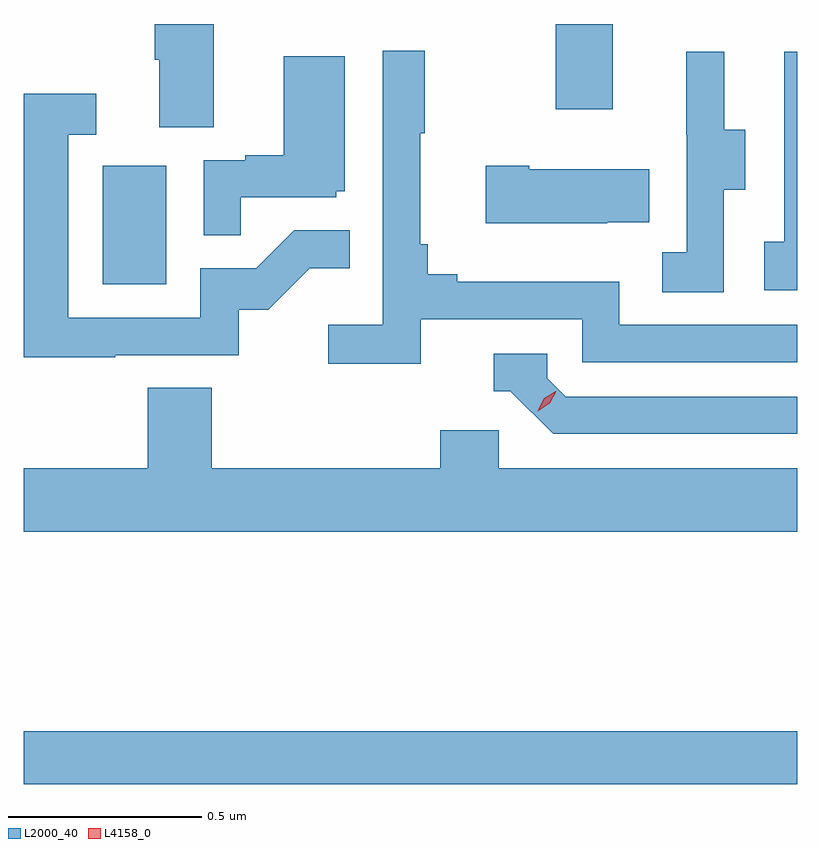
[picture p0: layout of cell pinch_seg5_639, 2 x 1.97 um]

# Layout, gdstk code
import gdstk
lib = gdstk.Library(unit=1e-6, precision=1e-09)
def R(c, l, rs):  # rectangles x0, y0, x1, y1
    for r in rs: c.add(gdstk.rectangle(r[:2], r[2:], *l))
def P(c, l, *ps):  # polygons
    for p in ps: c.add(gdstk.Polygon(p, *l))
L2000_40 = (2000, 40)
L4158_0 = (4158, 0)

pinch_seg5_639 = lib.new_cell('pinch_seg5_639')
R(pinch_seg5_639, L2000_40, [(1045.124,862.768,1047.124,862.904), (1045.328,864.06,1045.492,864.367), (1046.5,864.513,1046.647,864.733)])
P(pinch_seg5_639, L2000_40, [(1045.615,864.733),(1045.463,864.733),(1045.463,864.64),(1045.475,864.64),(1045.475,864.466),(1045.615,864.466)],
  [(1046.15,863.97),(1046.568,863.97),(1046.568,863.859),(1047.124,863.859),(1047.124,863.955),(1046.664,863.955),(1046.664,864.067),(1046.245,864.067),(1046.245,864.086),(1046.168,864.086),(1046.168,864.163),(1046.149,864.163),(1046.149,864.451),(1046.161,864.451),(1046.161,864.664),(1046.052,864.664),(1046.052,863.956),(1045.911,863.956),(1045.911,863.854),(1046.15,863.854)],
  [(1047.124,864.661),(1047.09,864.661),(1047.09,864.17),(1047.039,864.17),(1047.039,864.045),(1047.124,864.045)],
  [(1046.934,864.304),(1046.989,864.304),(1046.989,864.459),(1046.935,864.459),(1046.935,864.661),(1046.837,864.661),(1046.837,864.447),(1046.838,864.447),(1046.838,864.143),(1046.775,864.143),(1046.775,864.04),(1046.934,864.04)],
  [(1045.685,864.285),(1045.932,864.285),(1045.932,864.3),(1045.954,864.3),(1045.954,864.649),(1045.796,864.649),(1045.796,864.394),(1045.697,864.394),(1045.697,864.381),(1045.59,864.381),(1045.59,864.187),(1045.685,864.187)],
  [(1045.361,863.877),(1045.68,863.877),(1045.68,863.994),(1045.756,863.994),(1045.863,864.101),(1045.967,864.101),(1045.967,864.2),(1045.823,864.2),(1045.725,864.102),(1045.581,864.102),(1045.581,863.973),(1045.239,863.973),(1045.239,864.447),(1045.312,864.447),(1045.312,864.553),(1045.124,864.553),(1045.124,863.872),(1045.361,863.872)],
  [(1046.633,864.221),(1046.741,864.221),(1046.741,864.358),(1046.431,864.358),(1046.431,864.366),(1046.319,864.366),(1046.319,864.218),(1046.633,864.218)],
  [(1047.124,863.769),(1046.526,863.769),(1046.478,863.817),(1046.478,863.88),(1046.339,863.88),(1046.339,863.784),(1046.382,863.784),(1046.493,863.673),(1047.124,863.673)],
  [(1047.124,863.584),(1046.352,863.584),(1046.352,863.682),(1046.201,863.682),(1046.201,863.584),(1045.61,863.584),(1045.61,863.792),(1045.445,863.792),(1045.445,863.584),(1045.124,863.584),(1045.124,863.42),(1047.124,863.42)])
P(pinch_seg5_639, L4158_0, [(1046.453,863.732),(1046.453,863.733),(1046.47,863.765),(1046.5,863.784),(1046.501,863.784),(1046.501,863.784),(1046.484,863.752),(1046.453,863.732)])

lib.write_gds('pinch_seg5_639.gds')
